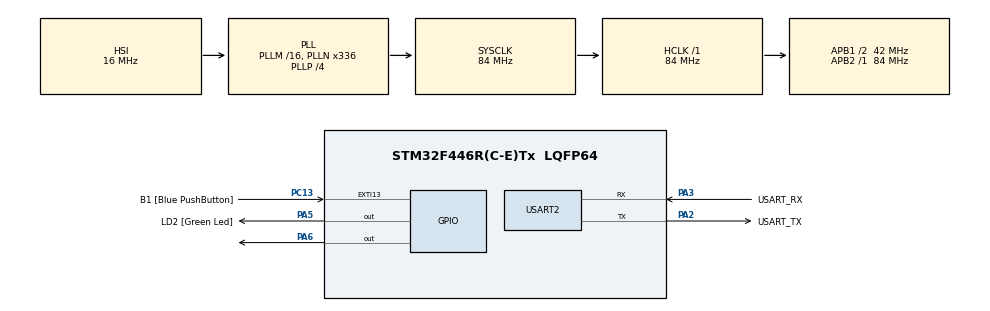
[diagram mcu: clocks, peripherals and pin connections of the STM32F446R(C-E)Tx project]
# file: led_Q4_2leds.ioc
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Mcu.Family=STM32F4
Mcu.Name=STM32F446R(C-E)Tx
Mcu.Package=LQFP64
NVIC.PriorityGroup=NVIC_PRIORITYGROUP_0
PA13.GPIO_Label=TMS
PA13.Mode=Serial_Wire
PA13.Signal=SYS_JTMS-SWDIO
PA14.GPIO_Label=TCK
PA14.Mode=Serial_Wire
PA14.Signal=SYS_JTCK-SWCLK
PA2.GPIO_Label=USART_TX
PA2.Mode=Asynchronous
PA2.Signal=USART2_TX
PA3.GPIO_Label=USART_RX
PA3.Mode=Asynchronous
PA3.Signal=USART2_RX
PA5.GPIO_Label=LD2 [Green Led]
PA5.Signal=GPIO_Output
PA6.Signal=GPIO_Output
PB3.GPIO_Label=SWO
PB3.Signal=SYS_JTDO-SWO
PC13.GPIO_Label=B1 [Blue PushButton]
PC13.GPIO_ModeDefaultEXTI=GPIO_MODE_IT_FALLING
PC13.Signal=GPXTI13
PC14-OSC32_IN.Mode=LSE-External-Oscillator
PC14-OSC32_IN.Signal=RCC_OSC32_IN
PC15-OSC32_OUT.Mode=LSE-External-Oscillator
PC15-OSC32_OUT.Signal=RCC_OSC32_OUT
PH0-OSC_IN.Mode=HSE-External-Oscillator
PH0-OSC_IN.Signal=RCC_OSC_IN
PH1-OSC_OUT.Mode=HSE-External-Oscillator
PH1-OSC_OUT.Signal=RCC_OSC_OUT
ProjectManager.HeapSize=0x200
ProjectManager.StackSize=0x400
ProjectManager.TargetToolchain=STM32CubeIDE
RCC.48MHZClocksFreq_Value=84000000
RCC.AHBFreq_Value=84000000
RCC.APB1CLKDivider=RCC_HCLK_DIV2
RCC.APB1Freq_Value=42000000
RCC.APB1TimFreq_Value=84000000
RCC.APB2Freq_Value=84000000
RCC.APB2TimFreq_Value=84000000
RCC.CortexFreq_Value=84000000
RCC.FLatency-AdvancedSettings=FLASH_LATENCY_2
RCC.HCLKFreq_Value=84000000
RCC.HSE_VALUE=8000000
RCC.HSI_VALUE=16000000
RCC.PLLN=336
RCC.PLLP=RCC_PLLP_DIV4
RCC.SYSCLKFreq_VALUE=84000000
RCC.SYSCLKSource=RCC_SYSCLKSOURCE_PLLCLK
RCC.USBFreq_Value=168000000
RCC.VCOOutputFreq_Value=336000000
USART2.VirtualMode=VM_ASYNC
board=NUCLEO-F446RE

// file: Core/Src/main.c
/* USER CODE BEGIN Header */
/**
  ******************************************************************************
  * @file           : main.c
  * @brief          : Main program body
  ******************************************************************************
  * @attention
  *
  * Copyright (c) 2023 STMicroelectronics.
  * All rights reserved.
  *
  * This software is licensed under terms that can be found in the LICENSE file
  * in the root directory of this software component.
  * If no LICENSE file comes with this software, it is provided AS-IS.
  *
  ******************************************************************************
  */
#include<stdio.h>

/* USER CODE END Header */
#include "main.h"

/* USER CODE BEGIN Includes */

void Led_Toggle(int count)
{
	for(int i=0;i<count;i++){
	HAL_GPIO_WritePin(GPIOA,GPIO_PIN_5,1);
	HAL_Delay(100);
	HAL_GPIO_WritePin(GPIOA,GPIO_PIN_5,0);
	HAL_Delay(100);
	}

	}

void Led_External(int count)
{
	for(int i=0;i<count;i++){
	HAL_GPIO_WritePin(GPIOA,GPIO_PIN_6,1);
	HAL_Delay(100);
	HAL_GPIO_WritePin(GPIOA,GPIO_PIN_6,0);
	HAL_Delay(100);
	}

	}

/* USER CODE END Includes */

UART_HandleTypeDef huart2;

void SystemClock_Config(void);
static void MX_GPIO_Init(void);
static void MX_USART2_UART_Init(void);

int main(void)
{

  /* MCU Configuration--------------------------------------------------------*/

  /* Reset of all peripherals, Initializes the Flash interface and the Systick. */
  HAL_Init();

  /* Configure the system clock */
  SystemClock_Config();

  /* Initialize all configured peripherals */
  MX_GPIO_Init();
  MX_USART2_UART_Init();

  /* Infinite loop */
  /* USER CODE BEGIN WHILE */
  while (1)
   {
 	  int count=0;
 	 static int sw=0;
 	 char s='s';
 	 char t='t';
 	 char n='n';
 	 char d='d';
 	 char r='r';
 	 char h='h';

     while(count<3){
     	if(!(HAL_GPIO_ReadPin(GPIOC,GPIO_PIN_13))){
     		count++;
     		 sw++;
     		 if(sw==1){
     		printf("Switch Pressed %d%c%c Time\n",sw,s,t);
     		 }
     		if(sw==2){
     		     		printf("Switch Pressed %d%c%c Time\n",sw,n,d);
     		     		 }
     		if(sw==3){
     		     		     		printf("Switch Pressed %d%c%c Time\n",sw,r,d);
     		     		     		 }
     		if(sw>3){
     			printf("Switch Pressed %d%c%c Time\n",sw,t,h);}

     		if(count == 1)
     		            {   printf("Internal LED Toggled 1 Time\n");
     		                printf("External LED Toggled 3 Time\n");
     			            Led_Toggle(count);
     			            Led_External(3);
     		            }
     		else if(count == 2)
     		    		{   printf("Internal LED Toggled 2 Time\n");
 		                printf("External LED Toggled 6 Time\n");
     		    			Led_Toggle(count);
     		    			Led_External(6);
     		    		}
     		else if(count == 3)
     		    		{   printf("Internal LED Toggled 3 Time\n");
 		                printf("External LED Toggled 9 Time\n");
     		    			Led_Toggle(count);
     		    			Led_External(9);
     		    		}

     	}

     	else{
     		printf("Switch not Pressed\n");
     		HAL_GPIO_WritePin(GPIOA,GPIO_PIN_5,0);
     		HAL_Delay(100);
     	}

     	}
     }

    /* USER CODE END WHILE */

  }

void SystemClock_Config(void)
{
  RCC_OscInitTypeDef RCC_OscInitStruct = {0};
  RCC_ClkInitTypeDef RCC_ClkInitStruct = {0};

  /** Configure the main internal regulator output voltage
  */
  __HAL_RCC_PWR_CLK_ENABLE();
  __HAL_PWR_VOLTAGESCALING_CONFIG(PWR_REGULATOR_VOLTAGE_SCALE3);

  /** Initializes the RCC Oscillators according to the specified parameters
  * in the RCC_OscInitTypeDef structure.
  */
  RCC_OscInitStruct.OscillatorType = RCC_OSCILLATORTYPE_HSI;
  RCC_OscInitStruct.HSIState = RCC_HSI_ON;
  RCC_OscInitStruct.HSICalibrationValue = RCC_HSICALIBRATION_DEFAULT;
  RCC_OscInitStruct.PLL.PLLState = RCC_PLL_ON;
  RCC_OscInitStruct.PLL.PLLSource = RCC_PLLSOURCE_HSI;
  RCC_OscInitStruct.PLL.PLLM = 16;
  RCC_OscInitStruct.PLL.PLLN = 336;
  RCC_OscInitStruct.PLL.PLLP = RCC_PLLP_DIV4;
  RCC_OscInitStruct.PLL.PLLQ = 2;
  RCC_OscInitStruct.PLL.PLLR = 2;
  if (HAL_RCC_OscConfig(&RCC_OscInitStruct) != HAL_OK)
  {
    Error_Handler();
  }

  /** Initializes the CPU, AHB and APB buses clocks
  */
  RCC_ClkInitStruct.ClockType = RCC_CLOCKTYPE_HCLK|RCC_CLOCKTYPE_SYSCLK
                              |RCC_CLOCKTYPE_PCLK1|RCC_CLOCKTYPE_PCLK2;
  RCC_ClkInitStruct.SYSCLKSource = RCC_SYSCLKSOURCE_PLLCLK;
  RCC_ClkInitStruct.AHBCLKDivider = RCC_SYSCLK_DIV1;
  RCC_ClkInitStruct.APB1CLKDivider = RCC_HCLK_DIV2;
  RCC_ClkInitStruct.APB2CLKDivider = RCC_HCLK_DIV1;

  if (HAL_RCC_ClockConfig(&RCC_ClkInitStruct, FLASH_LATENCY_2) != HAL_OK)
  {
    Error_Handler();
  }
}

static void MX_USART2_UART_Init(void)
{

  huart2.Instance = USART2;
  huart2.Init.BaudRate = 115200;
  huart2.Init.WordLength = UART_WORDLENGTH_8B;
  huart2.Init.StopBits = UART_STOPBITS_1;
  huart2.Init.Parity = UART_PARITY_NONE;
  huart2.Init.Mode = UART_MODE_TX_RX;
  huart2.Init.HwFlowCtl = UART_HWCONTROL_NONE;
  huart2.Init.OverSampling = UART_OVERSAMPLING_16;
  if (HAL_UART_Init(&huart2) != HAL_OK)
  {
    Error_Handler();
  }

}
int _write(int file, char *ptr, int len)
{
  (void)file;
  int DataIdx;

  for (DataIdx = 0; DataIdx < len; DataIdx++)
  {
    //__io_putchar(*ptr++);
	  ITM_SendChar(*ptr++);
  }
  return len;
}

static void MX_GPIO_Init(void)
{
  GPIO_InitTypeDef GPIO_InitStruct = {0};

  /* GPIO Ports Clock Enable */
  __HAL_RCC_GPIOC_CLK_ENABLE();
  __HAL_RCC_GPIOH_CLK_ENABLE();
  __HAL_RCC_GPIOA_CLK_ENABLE();
  __HAL_RCC_GPIOB_CLK_ENABLE();

  /*Configure GPIO pin Output Level */
  HAL_GPIO_WritePin(GPIOA, LD2_Pin|GPIO_PIN_6, GPIO_PIN_RESET);

  /*Configure GPIO pin : B1_Pin */
  GPIO_InitStruct.Pin = B1_Pin;
  GPIO_InitStruct.Mode = GPIO_MODE_IT_FALLING;
  GPIO_InitStruct.Pull = GPIO_NOPULL;
  HAL_GPIO_Init(B1_GPIO_Port, &GPIO_InitStruct);

  /*Configure GPIO pins : LD2_Pin PA6 */
  GPIO_InitStruct.Pin = LD2_Pin|GPIO_PIN_6;
  GPIO_InitStruct.Mode = GPIO_MODE_OUTPUT_PP;
  GPIO_InitStruct.Pull = GPIO_NOPULL;
  GPIO_InitStruct.Speed = GPIO_SPEED_FREQ_LOW;
  HAL_GPIO_Init(GPIOA, &GPIO_InitStruct);

}

void Error_Handler(void)
{
  __disable_irq();
  while (1)
  {
  }
}
